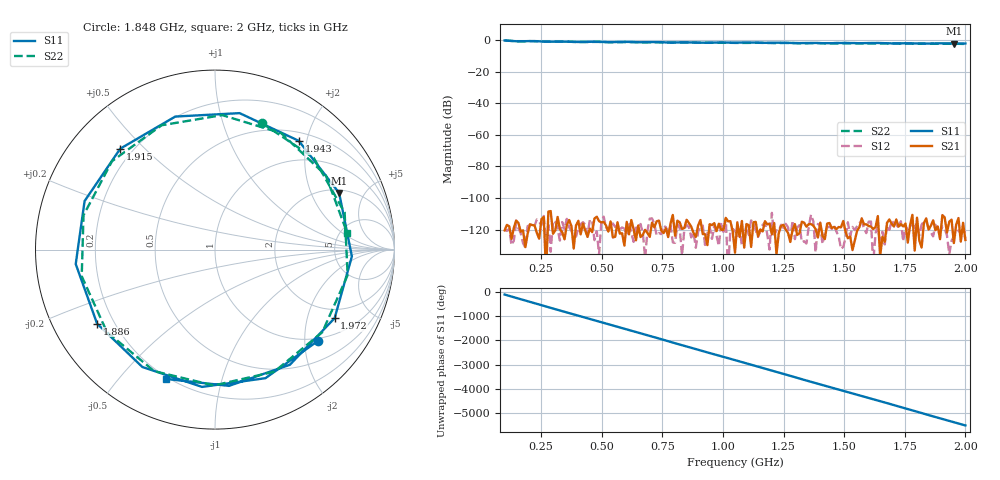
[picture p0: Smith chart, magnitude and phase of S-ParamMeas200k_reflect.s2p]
!Keysight Technologies,N5242B,MY48420967,A.15.65.19
!Date: Friday, December 16, 2022 23:47:31
!Correction: S11(C  2-Port  )
!S21(C  2-Port  )
!S12(C  2-Port  )
!S22(C  2-Port  )
!S2P File: Measurements: S11, S21, S12, S22:
# Hz S  dB  R 50
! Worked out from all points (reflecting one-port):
!   201 points, 100 MHz to 2 GHz, reference 50 ohm
!   lowest |S11| = -2.4 dB at 1.952 GHz (marker M1), VSWR 7.34, Z = 108 + j162 ohm
!   phase of S11 starts at -101 deg and turns -5409 deg over the sweep
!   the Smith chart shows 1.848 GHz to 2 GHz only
!   S11 on the Smith chart (normalised r, x): 1.848 GHz: 0.94, -2.32; 1.886 GHz: 0.14, -0.28; 1.915 GHz: 0.15, +0.42; 1.943 GHz: 0.64, +1.86; 1.972 GHz: 1.59, -2.97; 2 GHz: 0.19, -0.67
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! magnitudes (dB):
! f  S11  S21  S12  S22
! 100 MHz  -0.4  -120.4  -119.4  -0.4
! 157 MHz  -0.9  -115.7  -119.0  -0.9
! 214 MHz  -0.8  -117.0  -116.2  -0.8
! 290 MHz  -1.2  -108.2  -133.9  -1.2
! 347 MHz  -1.0  -126.0  -119.6  -1.1
! 423 MHz  -1.3  -116.0  -115.2  -1.4
! 736.5 MHz  -1.4  -114.2  -122.1  -1.5
! 784 MHz  -1.7  -116.2  -116.8  -1.7
! 841 MHz  -1.5  -118.9  -119.8  -1.7
! 1.05 GHz  -1.8  -134.5  -120.6  -1.9
! 1.097 GHz  -1.6  -116.5  -116.3  -1.9
! 1.297 GHz  -2.1  -116.4  -125.9  -2.1
! 1.373 GHz  -2.0  -117.4  -114.7  -2.1
! 1.639 GHz  -2.0  -111.3  -117.3  -2.2
! 1.687 GHz  -2.2  -113.5  -120.1  -2.3
! 1.848 GHz  -2.3  -119.8  -118.5  -2.5
! 1.886 GHz  -2.2  -117.9  -122.2  -2.4
! 1.915 GHz  -2.3  -112.2  -119.3  -2.4
! 1.943 GHz  -2.3  -113.6  -126.9  -2.4
! 1.952 GHz  -2.4  -128.4  -124.3  -2.4
! 1.972 GHz  -2.3  -112.6  -120.4  -2.5
! 2 GHz  -2.3  -126.5  -125.3  -2.6
